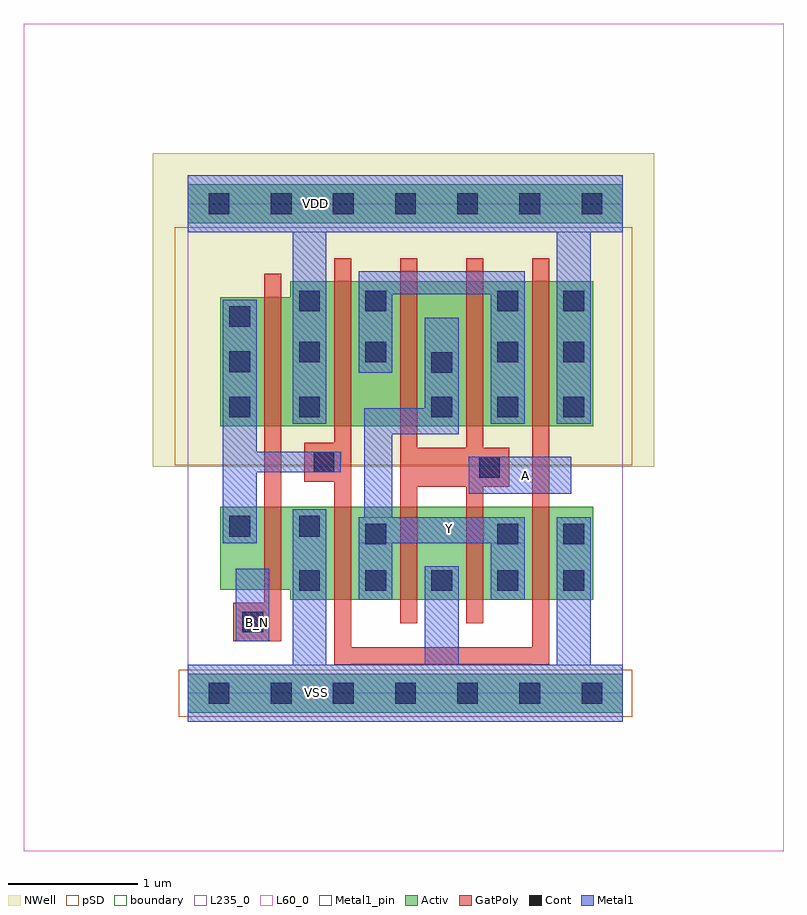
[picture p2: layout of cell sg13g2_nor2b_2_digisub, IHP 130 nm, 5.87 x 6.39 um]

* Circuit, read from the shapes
.subckt sg13g2_nor2b_2_digisub A B_N VDD VSS Y
XM1 VSS B_N n1 VSS sg13_lv_nmos w=0.64u l=0.13u
XM2 Y n1 VSS VSS sg13_lv_nmos w=0.72u l=0.13u m=2
XM3 VSS A Y VSS sg13_lv_nmos w=0.72u l=0.13u m=2
XM4 VDD B_N n1 VDD sg13_lv_pmos w=1u l=0.13u
XM5 n2 n1 VDD VDD sg13_lv_pmos w=1.12u l=0.13u m=2
XM6 Y A n2 VDD sg13_lv_pmos w=1.12u l=0.13u m=2
.ends

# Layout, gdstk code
import gdstk
lib = gdstk.Library(unit=1e-6, precision=1e-09)
def R(c, l, rs):  # rectangles x0, y0, x1, y1
    for r in rs: c.add(gdstk.rectangle(r[:2], r[2:], *l))
def A(c, l, x, y, w, h, nx, ny, dx, dy):  # array of equal rectangles
    R(c, l, [(x+i*dx, y+j*dy, x+i*dx+w, y+j*dy+h) for i in range(nx) for j in range(ny)])
def P(c, l, *ps):  # polygons
    for p in ps: c.add(gdstk.Polygon(p, *l))
Activ = (1, 0)
GatPoly = (5, 0)
Cont = (6, 0)
Metal1 = (8, 0)
Metal1_pin = (8, 2)
pSD = (14, 0)
NWell = (31, 0)
L60_0 = (60, 0)
boundary = (189, 4)
L235_0 = (235, 0)

sg13g2_nor2b_2_digisub = lib.new_cell('sg13g2_nor2b_2_digisub')
R(sg13g2_nor2b_2_digisub, Activ, [(0,-0.15,3.36,0.15), (0,3.63,3.36,3.93)])
P(sg13g2_nor2b_2_digisub, Activ, [(3.13,1.44),(0.25,1.44),(0.25,0.8),(0.79,0.8),(0.79,0.72),(3.13,0.72)],
  [(3.13,3.18),(0.79,3.18),(0.79,3.06),(0.25,3.06),(0.25,2.06),(3.13,2.06)])
P(sg13g2_nor2b_2_digisub, GatPoly, [(2.79,3.36),(2.66,3.36),(2.66,0.355),(1.26,0.355),(1.26,3.36),(1.13,3.36),(1.13,1.935),(0.9,1.935),(0.9,1.635),(1.13,1.635),(1.13,0.22),(1.26,0.22),(1.26,0.225),(2.66,0.225),(2.66,0.22),(2.79,0.22)],
  [(0.72,3.24),(0.59,3.24),(0.59,0.7),(0.35,0.7),(0.35,0.4),(0.72,0.4)],
  [(2.48,1.895),(2.28,1.895),(2.28,3.36),(2.15,3.36),(2.15,1.895),(1.77,1.895),(1.77,3.36),(1.64,3.36),(1.64,0.54),(1.77,0.54),(1.77,1.595),(2.15,1.595),(2.15,0.54),(2.28,0.54),(2.28,1.595),(2.48,1.595)])
A(sg13g2_nor2b_2_digisub, Cont, 0.16, -0.08, 0.16, 0.16, 7, 2, 0.48, 3.78)
A(sg13g2_nor2b_2_digisub, Cont, 0.86, 0.79, 0.16, 0.16, 5, 1, 0.51, 0)
A(sg13g2_nor2b_2_digisub, Cont, 0.32, 2.13, 0.16, 0.16, 1, 3, 0, 0.35)
A(sg13g2_nor2b_2_digisub, Cont, 1.88, 2.13, 0.16, 0.16, 3, 1, 0.51, 0)
R(sg13g2_nor2b_2_digisub, Cont, [(0.42,0.47,0.58,0.63), (1.37,1.15,1.53,1.31), (2.39,1.15,2.55,1.31), (2.9,1.15,3.06,1.31), (0.32,1.21,0.48,1.37), (0.86,1.21,1.02,1.37), (2.25,1.665,2.41,1.825), (0.97,1.705,1.13,1.865), (0.86,2.13,1.02,2.29), (1.88,2.475,2.04,2.635), (0.86,2.555,1.02,2.715), (1.37,2.555,1.53,2.715), (2.39,2.555,2.55,2.715), (2.9,2.555,3.06,2.715), (0.86,2.95,1.02,3.11), (1.37,2.95,1.53,3.11), (2.39,2.95,2.55,3.11), (2.9,2.95,3.06,3.11)])
R(sg13g2_nor2b_2_digisub, Metal1, [(0.37,0.4,0.63,0.96), (2.17,1.54,2.96,1.825)])
P(sg13g2_nor2b_2_digisub, Metal1, [(3.36,0.22),(3.11,0.22),(3.11,1.36),(2.85,1.36),(2.85,0.22),(2.09,0.22),(2.09,0.98),(1.83,0.98),(1.83,0.22),(1.07,0.22),(1.07,1.42),(0.81,1.42),(0.81,0.22),(0,0.22),(0,-0.22),(3.36,-0.22)],
  [(3.36,4),(0,4),(0,3.56),(0.81,3.56),(0.81,2.08),(1.07,2.08),(1.07,3.56),(2.85,3.56),(2.85,2.08),(3.11,2.08),(3.11,3.56),(3.36,3.56)],
  [(1.18,1.865),(0.53,1.865),(0.53,3.04),(0.27,3.04),(0.27,1.16),(0.53,1.16),(0.53,1.705),(1.18,1.705)],
  [(2.6,1.36),(1.58,1.36),(1.58,2),(2.09,2),(2.09,2.9),(1.83,2.9),(1.83,2.2),(1.36,2.2),(1.36,1.36),(1.32,1.36),(1.32,0.72),(1.58,0.72),(1.58,1.16),(2.34,1.16),(2.34,0.72),(2.6,0.72)],
  [(2.6,3.26),(1.32,3.26),(1.32,2.475),(1.58,2.475),(1.58,3.08),(2.34,3.08),(2.34,2.08),(2.6,2.08)])
R(sg13g2_nor2b_2_digisub, Metal1_pin, [(0,-0.22,3.36,0.22), (0.37,0.4,0.63,0.96), (1.32,1.16,2.6,1.36), (2.17,1.54,2.96,1.825), (0,3.56,3.36,4)])
R(sg13g2_nor2b_2_digisub, pSD, [(-0.07,-0.18,3.43,0.18), (-0.1,1.76,3.43,3.6)])
R(sg13g2_nor2b_2_digisub, NWell, [(-0.27,1.75,3.6,4.17)])
R(sg13g2_nor2b_2_digisub, L60_0, [(-1.27,-1.22,4.6,5.17)])
R(sg13g2_nor2b_2_digisub, boundary, [(0,0,3.36,3.78)])
R(sg13g2_nor2b_2_digisub, L235_0, [(0,0,3.36,3.78)])
sg13g2_nor2b_2_digisub.add(gdstk.Label('A', (2.61,1.685), layer=8, texttype=25))
sg13g2_nor2b_2_digisub.add(gdstk.Label('B_N', (0.54,0.545), layer=8, texttype=25))
sg13g2_nor2b_2_digisub.add(gdstk.Label('VDD', (0.985,3.78), layer=8, texttype=25))
sg13g2_nor2b_2_digisub.add(gdstk.Label('Y', (2.02,1.27), layer=8, texttype=25))
sg13g2_nor2b_2_digisub.add(gdstk.Label('VSS', (0.995,0.005), layer=8, texttype=25))

lib.write_gds('sg13g2_nor2b_2_digisub.gds')
